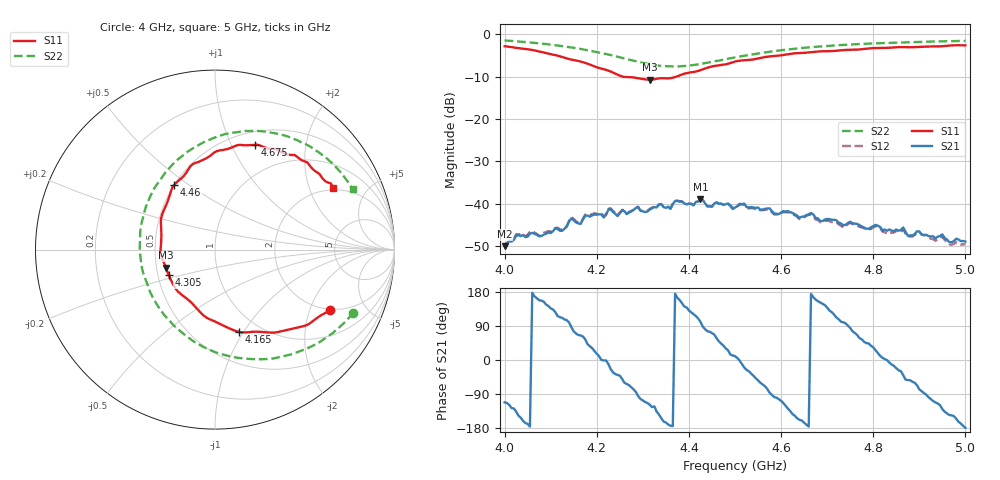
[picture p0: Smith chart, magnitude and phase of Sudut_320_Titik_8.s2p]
# Hz S RI R 50
! CMT, C1220, 16058040, 17.2.0/1
! Date: 15/08/2018 11:45:01
! Data: Format (Calibration Info)
! Freq  S11: Re/Im (F2)  S21: Re/Im (F2)  S12: Re/Im (F2)  S22: Re/Im (F2)
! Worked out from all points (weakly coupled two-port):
!   201 points, 4 GHz to 5 GHz, reference 50 ohm
!   highest |S21| = -38.91 dB at 4.425 GHz (marker M1); lowest = -50.0 dB at 4 GHz (marker M2)
!   lowest |S11| = -10.7 dB at 4.315 GHz (marker M3), VSWR 1.82, Z = 28 - j6.15 ohm
!   |S11| at or under -10 dB: 4.258 GHz to 4.372 GHz (113.9 MHz wide, 2.64 % of centre)
!   |S22| runs from -7.6 to -1.4 dB; largest |S21 - S12| = 0.0018
!   S11 on the Smith chart (normalised r, x): 4 GHz: 1.96, -2.78; 4.165 GHz: 0.80, -0.95; 4.305 GHz: 0.57, -0.18; 4.46 GHz: 0.50, +0.44; 4.675 GHz: 0.64, +1.23; 5 GHz: 1.92, +2.92
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4e9  0.6405 -0.3371  -0.00117 -0.00294  -0.00112 -0.00315  0.7707 -0.3515
4.03e9  0.5746 -0.3766  -0.00357 -0.00234  -0.00356 -0.00257  0.7119 -0.4154
4.125e9  0.2816 -0.4606  -0.00175 0.00447  -0.0019 0.00459  0.4392 -0.5788
4.145e9  0.209 -0.4579  0.000412 0.00674  0.000284 0.007  0.3634 -0.5975
4.165e9  0.1334 -0.4588  0.00246 0.00524  0.00243 0.00541  0.2845 -0.61
4.17e9  0.1173 -0.4541  0.00308 0.00577  0.00302 0.00599  0.2637 -0.6108
4.215e9  -0.0328 -0.3867  0.0069 -0.000137  0.00711 -6.86e-05  0.0658 -0.5903
4.23e9  -0.0748 -0.3568  0.0079 -0.00346  0.00818 -0.00345  -0.00144 -0.5704
4.245e9  -0.113 -0.315  0.00556 -0.00453  0.00569 -0.00469  -0.0658 -0.5416
4.305e9  -0.2584 -0.1405  -0.00288 -0.00747  -0.00293 -0.00765  -0.2938 -0.3499
4.315e9  -0.274 -0.1005  -0.00404 -0.00753  -0.00415 -0.00772  -0.3231 -0.3069
4.335e9  -0.3004 -0.0339  -0.00786 -0.00577  -0.00808 -0.00569  -0.3699 -0.2143
4.36e9  -0.2998 0.053  -0.00867 -0.000985  -0.0088 -0.000908  -0.4086 -0.092
4.37e9  -0.299 0.0937  -0.0107 0.000957  -0.0108 0.00109  -0.4152 -0.0447
4.425e9  -0.2631 0.2707  -0.00214 0.0111  -0.00192 0.0111  -0.3913 0.2177
4.44e9  -0.2471 0.3193  0.00228 0.00908  0.00238 0.00899  -0.3664 0.2822
4.46e9  -0.2257 0.3623  0.0056 0.00878  0.00579 0.00864  -0.3257 0.3602
4.5e9  -0.143 0.4553  0.00888 0.00158  0.00872 0.00144  -0.2255 0.4852
4.67e9  0.2138 0.5832  -0.00725 0.00188  -0.00694 0.00188  0.26 0.6588
4.675e9  0.2219 0.584  -0.00641 0.00242  -0.00609 0.00239  0.2725 0.6585
4.835e9  0.4854 0.4971  0.00495 -0.000592  0.00461 -0.000456  0.5855 0.5363
5e9  0.6578 0.3423  -0.00359 -6.05e-05  -0.00336 -0.000263  0.7665 0.3377
